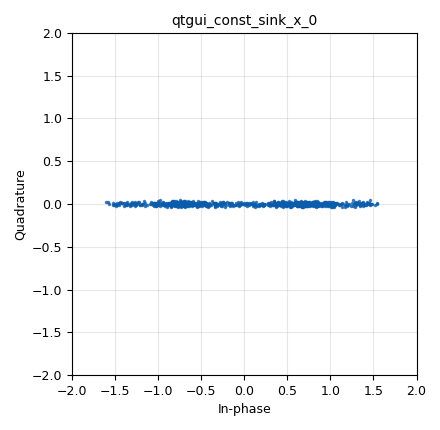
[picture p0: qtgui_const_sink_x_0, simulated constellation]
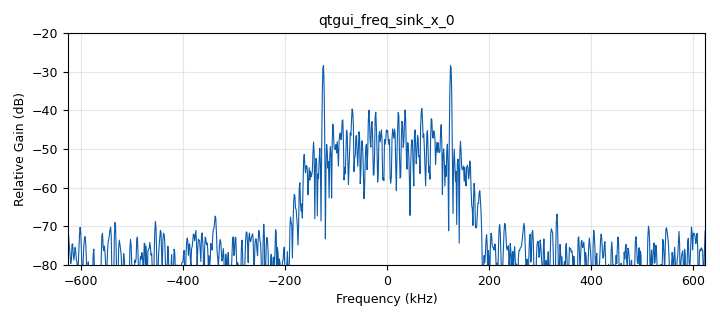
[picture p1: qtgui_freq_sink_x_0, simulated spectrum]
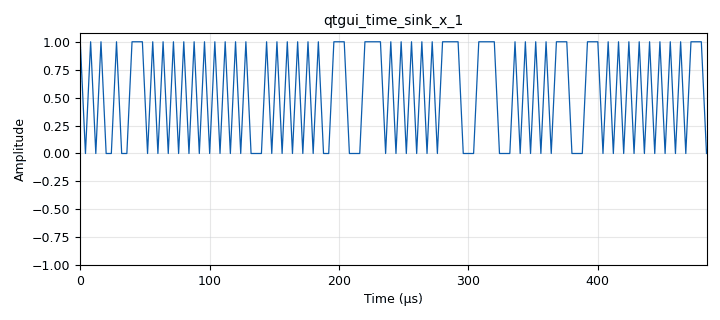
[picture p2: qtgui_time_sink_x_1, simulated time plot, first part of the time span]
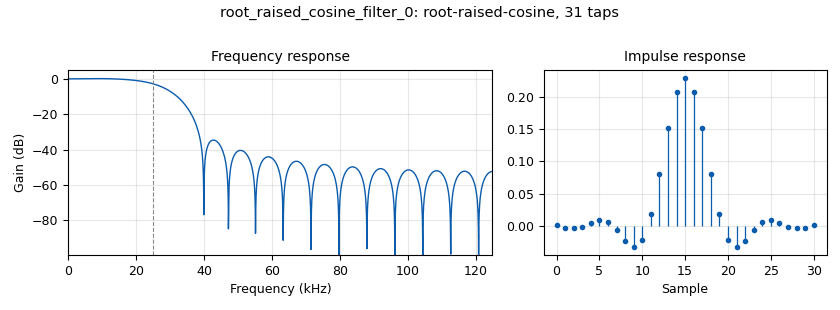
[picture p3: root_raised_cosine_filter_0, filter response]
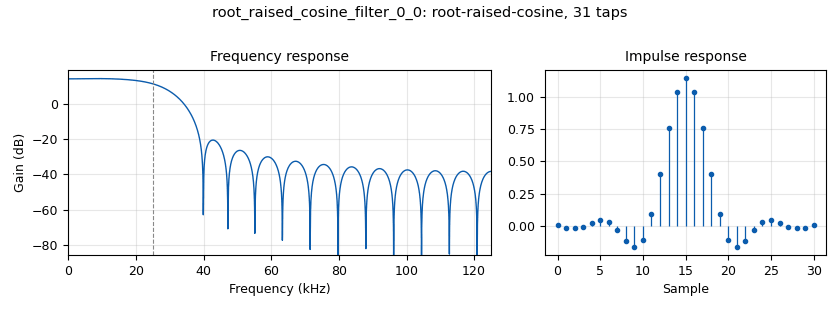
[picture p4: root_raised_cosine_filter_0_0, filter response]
<?xml version='1.0' encoding='utf-8'?>
<?grc format='1' created='3.7.12'?>
<flow_graph>
<block>
<key>options</key>
<param><key>id</key><value>T2B_Gen</value></param>
<param><key>generate_options</key><value>qt_gui</value></param>
</block>
<block>
<key>variable</key>
<param><key>id</key><value>c1</value></param>
<param><key>value</key><value>(1,-1)</value></param>
</block>
<block>
<key>variable</key>
<param><key>id</key><value>c2</value></param>
<param><key>value</key><value>(1,1,1,-1,-1,1,-1)</value></param>
</block>
<block>
<key>variable</key>
<param><key>id</key><value>c3</value></param>
<param><key>value</key><value>(1,1,1,-1,-1,-1,1,-1,1,1,-1)</value></param>
</block>
<block>
<key>variable</key>
<param><key>id</key><value>c4</value></param>
<param><key>value</key><value>(1,1,1,1,-1,-1,-1,1,-1,-1,-1,-1,1,1,-1,1,1,-1,-1)</value></param>
</block>
<block>
<key>variable</key>
<param><key>id</key><value>c5</value></param>
<param><key>value</key><value>(1,1,1,1,-1,1,-1,1,-1,-1,-1,-1,1,1,-1,1,1,-1,-1)</value></param>
</block>
<block>
<key>variable</key>
<param><key>id</key><value>c6</value></param>
<param><key>value</key><value>(1,1,1,1,1,-1,1,-1,1,1,-1,-1,1,1,-1,-1,1,-1,1,-1,-1,-1,-1)</value></param>
</block>
<block>
<key>variable_qtgui_range</key>
<param><key>id</key><value>noise_amp</value></param>
<param><key>value</key><value>0.01</value></param>
<param><key>orient</key><value>Qt.Horizontal</value></param>
<param><key>start</key><value>0</value></param>
<param><key>step</key><value>0.001</value></param>
<param><key>stop</key><value>100</value></param>
</block>
<block>
<key>variable</key>
<param><key>id</key><value>samp_rate</value></param>
<param><key>value</key><value>250e3</value></param>
</block>
<block>
<key>analog_const_source_x</key>
<param><key>id</key><value>analog_const_source_x_0</value></param>
<param><key>const</key><value>0</value></param>
<param><key>type</key><value>float</value></param>
</block>
<block>
<key>analog_fastnoise_source_x</key>
<param><key>id</key><value>analog_fastnoise_source_x_0</value></param>
<param><key>amp</key><value>noise_amp</value></param>
<param><key>noise_type</key><value>analog.GR_GAUSSIAN</value></param>
<param><key>type</key><value>complex</value></param>
<param><key>seed</key><value>0</value></param>
<param><key>samples</key><value>8192</value></param>
</block>
<block>
<key>blocks_add_xx</key>
<param><key>id</key><value>blocks_add_xx_0</value></param>
<param><key>type</key><value>short</value></param>
<param><key>num_inputs</key><value>6</value></param>
</block>
<block>
<key>blocks_add_xx</key>
<param><key>id</key><value>blocks_add_xx_1</value></param>
<param><key>type</key><value>complex</value></param>
</block>
<block>
<key>blocks_char_to_float</key>
<param><key>id</key><value>blocks_char_to_float_0</value></param>
<param><key>scale</key><value>1</value></param>
</block>
<block>
<key>blocks_char_to_float</key>
<param><key>id</key><value>blocks_char_to_float_1</value></param>
<param><key>_enabled</key><value>0</value></param>
<param><key>scale</key><value>1</value></param>
</block>
<block>
<key>blocks_char_to_float</key>
<param><key>id</key><value>blocks_char_to_float_1_0</value></param>
<param><key>_enabled</key><value>0</value></param>
<param><key>scale</key><value>1</value></param>
</block>
<block>
<key>blocks_char_to_float</key>
<param><key>id</key><value>blocks_char_to_float_1_0_0</value></param>
<param><key>_enabled</key><value>0</value></param>
<param><key>scale</key><value>1</value></param>
</block>
<block>
<key>blocks_char_to_float</key>
<param><key>id</key><value>blocks_char_to_float_1_0_0_0</value></param>
<param><key>scale</key><value>1</value></param>
</block>
<block>
<key>blocks_char_to_float</key>
<param><key>id</key><value>blocks_char_to_float_1_0_0_0_0</value></param>
<param><key>_enabled</key><value>0</value></param>
<param><key>scale</key><value>1</value></param>
</block>
<block>
<key>blocks_char_to_float</key>
<param><key>id</key><value>blocks_char_to_float_1_0_0_0_0_0</value></param>
<param><key>_enabled</key><value>0</value></param>
<param><key>scale</key><value>1</value></param>
</block>
<block>
<key>blocks_complex_to_real</key>
<param><key>id</key><value>blocks_complex_to_real_0</value></param>
<param><key>_enabled</key><value>0</value></param>
</block>
<block>
<key>blocks_complex_to_real</key>
<param><key>id</key><value>blocks_complex_to_real_0_0</value></param>
<param><key>_enabled</key><value>0</value></param>
</block>
<block>
<key>blocks_complex_to_real</key>
<param><key>id</key><value>blocks_complex_to_real_0_0_0</value></param>
<param><key>_enabled</key><value>0</value></param>
</block>
<block>
<key>blocks_complex_to_real</key>
<param><key>id</key><value>blocks_complex_to_real_0_0_0_0</value></param>
<param><key>_enabled</key><value>0</value></param>
</block>
<block>
<key>blocks_complex_to_real</key>
<param><key>id</key><value>blocks_complex_to_real_0_0_1</value></param>
<param><key>_enabled</key><value>0</value></param>
</block>
<block>
<key>blocks_complex_to_real</key>
<param><key>id</key><value>blocks_complex_to_real_0_1</value></param>
</block>
<block>
<key>blocks_delay</key>
<param><key>id</key><value>blocks_delay_0</value></param>
<param><key>delay</key><value>1</value></param>
<param><key>type</key><value>complex</value></param>
</block>
<block>
<key>blocks_float_to_complex</key>
<param><key>id</key><value>blocks_float_to_complex_0</value></param>
</block>
<block>
<key>blocks_multiply_const_vxx</key>
<param><key>id</key><value>blocks_multiply_const_vxx_0</value></param>
<param><key>const</key><value>2</value></param>
<param><key>type</key><value>short</value></param>
</block>
<block>
<key>blocks_multiply_const_vxx</key>
<param><key>id</key><value>blocks_multiply_const_vxx_0_0</value></param>
<param><key>const</key><value>1</value></param>
<param><key>type</key><value>short</value></param>
</block>
<block>
<key>blocks_multiply_const_vxx</key>
<param><key>id</key><value>blocks_multiply_const_vxx_0_1</value></param>
<param><key>const</key><value>-1</value></param>
<param><key>type</key><value>short</value></param>
</block>
<block>
<key>blocks_multiply_const_vxx</key>
<param><key>id</key><value>blocks_multiply_const_vxx_0_1_0</value></param>
<param><key>const</key><value>-1</value></param>
<param><key>type</key><value>short</value></param>
</block>
<block>
<key>blocks_multiply_const_vxx</key>
<param><key>id</key><value>blocks_multiply_const_vxx_0_1_0_0</value></param>
<param><key>const</key><value>1</value></param>
<param><key>type</key><value>short</value></param>
</block>
<block>
<key>blocks_multiply_const_vxx</key>
<param><key>id</key><value>blocks_multiply_const_vxx_0_1_0_0_0</value></param>
<param><key>const</key><value>-1</value></param>
<param><key>type</key><value>short</value></param>
</block>
<block>
<key>blocks_null_sink</key>
<param><key>id</key><value>blocks_null_sink_0</value></param>
<param><key>bus_conns</key><value>[[0,],]</value></param>
<param><key>_enabled</key><value>0</value></param>
<param><key>type</key><value>complex</value></param>
</block>
<block>
<key>blocks_null_sink</key>
<param><key>id</key><value>blocks_null_sink_0_0</value></param>
<param><key>bus_conns</key><value>[[0,],]</value></param>
<param><key>_enabled</key><value>0</value></param>
<param><key>type</key><value>complex</value></param>
</block>
<block>
<key>blocks_null_sink</key>
<param><key>id</key><value>blocks_null_sink_0_0_0</value></param>
<param><key>bus_conns</key><value>[[0,],]</value></param>
<param><key>_enabled</key><value>0</value></param>
<param><key>type</key><value>complex</value></param>
</block>
<block>
<key>blocks_null_sink</key>
<param><key>id</key><value>blocks_null_sink_0_0_0_0</value></param>
<param><key>bus_conns</key><value>[[0,],]</value></param>
<param><key>_enabled</key><value>0</value></param>
<param><key>type</key><value>complex</value></param>
</block>
<block>
<key>blocks_null_sink</key>
<param><key>id</key><value>blocks_null_sink_0_0_1</value></param>
<param><key>bus_conns</key><value>[[0,],]</value></param>
<param><key>_enabled</key><value>0</value></param>
<param><key>type</key><value>complex</value></param>
</block>
<block>
<key>blocks_null_sink</key>
<param><key>id</key><value>blocks_null_sink_0_1</value></param>
<param><key>bus_conns</key><value>[[0,],]</value></param>
<param><key>type</key><value>complex</value></param>
</block>
<block>
<key>blocks_short_to_float</key>
<param><key>id</key><value>blocks_short_to_float_0</value></param>
<param><key>scale</key><value>1</value></param>
</block>
<block>
<key>blocks_throttle</key>
<param><key>id</key><value>blocks_throttle_0</value></param>
<param><key>samples_per_second</key><value>1e6</value></param>
<param><key>type</key><value>short</value></param>
</block>
<block>
<key>blocks_vector_source_x</key>
<param><key>id</key><value>blocks_vector_source_x_0</value></param>
<param><key>type</key><value>short</value></param>
<param><key>repeat</key><value>True</value></param>
<param><key>vector</key><value>c1</value></param>
</block>
<block>
<key>blocks_vector_source_x</key>
<param><key>id</key><value>blocks_vector_source_x_0_0</value></param>
<param><key>type</key><value>short</value></param>
<param><key>repeat</key><value>True</value></param>
<param><key>vector</key><value>c2</value></param>
</block>
<block>
<key>blocks_vector_source_x</key>
<param><key>id</key><value>blocks_vector_source_x_0_0_0</value></param>
<param><key>type</key><value>short</value></param>
<param><key>repeat</key><value>True</value></param>
<param><key>vector</key><value>c3</value></param>
</block>
<block>
<key>blocks_vector_source_x</key>
<param><key>id</key><value>blocks_vector_source_x_0_0_0_0</value></param>
<param><key>type</key><value>short</value></param>
<param><key>repeat</key><value>True</value></param>
<param><key>vector</key><value>c4</value></param>
</block>
<block>
<key>blocks_vector_source_x</key>
<param><key>id</key><value>blocks_vector_source_x_0_0_0_0_0</value></param>
<param><key>type</key><value>short</value></param>
<param><key>repeat</key><value>True</value></param>
<param><key>vector</key><value>c5</value></param>
</block>
<block>
<key>blocks_vector_source_x</key>
<param><key>id</key><value>blocks_vector_source_x_0_0_0_0_0_0</value></param>
<param><key>type</key><value>short</value></param>
<param><key>repeat</key><value>True</value></param>
<param><key>vector</key><value>c6</value></param>
</block>
<block>
<key>digital_binary_slicer_fb</key>
<param><key>id</key><value>digital_binary_slicer_fb_0</value></param>
</block>
<block>
<key>digital_binary_slicer_fb</key>
<param><key>id</key><value>digital_binary_slicer_fb_1</value></param>
<param><key>_enabled</key><value>0</value></param>
</block>
<block>
<key>digital_binary_slicer_fb</key>
<param><key>id</key><value>digital_binary_slicer_fb_1_0</value></param>
<param><key>_enabled</key><value>0</value></param>
</block>
<block>
<key>digital_binary_slicer_fb</key>
<param><key>id</key><value>digital_binary_slicer_fb_1_0_0</value></param>
<param><key>_enabled</key><value>0</value></param>
</block>
<block>
<key>digital_binary_slicer_fb</key>
<param><key>id</key><value>digital_binary_slicer_fb_1_0_0_0</value></param>
</block>
<block>
<key>digital_binary_slicer_fb</key>
<param><key>id</key><value>digital_binary_slicer_fb_1_0_0_0_0</value></param>
<param><key>_enabled</key><value>0</value></param>
</block>
<block>
<key>digital_binary_slicer_fb</key>
<param><key>id</key><value>digital_binary_slicer_fb_1_0_0_0_0_0</value></param>
<param><key>_enabled</key><value>0</value></param>
</block>
<block>
<key>digital_clock_recovery_mm_xx</key>
<param><key>id</key><value>digital_clock_recovery_mm_xx_0</value></param>
<param><key>gain_mu</key><value>0.175</value></param>
<param><key>gain_omega</key><value>0.25*0.175*0.175</value></param>
<param><key>mu</key><value>0.5</value></param>
<param><key>omega_relative_limit</key><value>0.005</value></param>
<param><key>omega</key><value>5*(1+0.0)</value></param>
<param><key>type</key><value>complex</value></param>
</block>
<block>
<key>digital_corr_est_cc</key>
<param><key>id</key><value>digital_corr_est_cc_0</value></param>
<param><key>_enabled</key><value>0</value></param>
<param><key>sps</key><value>5</value></param>
<param><key>symbols</key><value>c6</value></param>
<param><key>mark_delay</key><value>0</value></param>
<param><key>threshold_method</key><value>digital.corr_est_cc.THRESHOLD_ABSOLUTE</value></param>
<param><key>threshold</key><value>0.9</value></param>
</block>
<block>
<key>digital_corr_est_cc</key>
<param><key>id</key><value>digital_corr_est_cc_0_0</value></param>
<param><key>_enabled</key><value>0</value></param>
<param><key>sps</key><value>5</value></param>
<param><key>symbols</key><value>c5</value></param>
<param><key>mark_delay</key><value>0</value></param>
<param><key>threshold_method</key><value>digital.corr_est_cc.THRESHOLD_ABSOLUTE</value></param>
<param><key>threshold</key><value>1</value></param>
</block>
<block>
<key>digital_corr_est_cc</key>
<param><key>id</key><value>digital_corr_est_cc_0_0_0</value></param>
<param><key>_enabled</key><value>0</value></param>
<param><key>sps</key><value>5</value></param>
<param><key>symbols</key><value>c4</value></param>
<param><key>mark_delay</key><value>0</value></param>
<param><key>threshold_method</key><value>digital.corr_est_cc.THRESHOLD_ABSOLUTE</value></param>
<param><key>threshold</key><value>0.9</value></param>
</block>
<block>
<key>digital_corr_est_cc</key>
<param><key>id</key><value>digital_corr_est_cc_0_0_0_0</value></param>
<param><key>_enabled</key><value>0</value></param>
<param><key>sps</key><value>5</value></param>
<param><key>symbols</key><value>c1</value></param>
<param><key>mark_delay</key><value>0</value></param>
<param><key>threshold_method</key><value>digital.corr_est_cc.THRESHOLD_ABSOLUTE</value></param>
<param><key>threshold</key><value>0.9</value></param>
</block>
<block>
<key>digital_corr_est_cc</key>
<param><key>id</key><value>digital_corr_est_cc_0_0_1</value></param>
<param><key>_enabled</key><value>0</value></param>
<param><key>sps</key><value>5</value></param>
<param><key>symbols</key><value>c2</value></param>
<param><key>mark_delay</key><value>0</value></param>
<param><key>threshold_method</key><value>digital.corr_est_cc.THRESHOLD_ABSOLUTE</value></param>
<param><key>threshold</key><value>0.9</value></param>
</block>
<block>
<key>digital_corr_est_cc</key>
<param><key>id</key><value>digital_corr_est_cc_0_1</value></param>
<param><key>sps</key><value>5</value></param>
<param><key>symbols</key><value>c3</value></param>
<param><key>mark_delay</key><value>0</value></param>
<param><key>threshold_method</key><value>digital.corr_est_cc.THRESHOLD_ABSOLUTE</value></param>
<param><key>threshold</key><value>0.9</value></param>
</block>
<block>
<key>digital_map_bb</key>
<param><key>id</key><value>digital_map_bb_0</value></param>
<param><key>map</key><value>[-1,1]</value></param>
</block>
<block>
<key>qtgui_const_sink_x</key>
<param><key>id</key><value>qtgui_const_sink_x_0</value></param>
<param><key>marker1</key><value>9</value></param>
<param><key>width1</key><value>0</value></param>
<param><key>size</key><value>1024</value></param>
<param><key>type</key><value>complex</value></param>
</block>
<block>
<key>qtgui_freq_sink_x</key>
<param><key>id</key><value>qtgui_freq_sink_x_0</value></param>
<param><key>bw</key><value>samp_rate*5</value></param>
<param><key>fc</key><value>0</value></param>
<param><key>fftsize</key><value>1024</value></param>
<param><key>showports</key><value>True</value></param>
<param><key>type</key><value>complex</value></param>
<param><key>wintype</key><value>firdes.WIN_BLACKMAN_hARRIS</value></param>
<param><key>ymax</key><value>-20</value></param>
<param><key>ymin</key><value>-80</value></param>
</block>
<block>
<key>qtgui_time_sink_x</key>
<param><key>id</key><value>qtgui_time_sink_x_0</value></param>
<param><key>autoscale</key><value>True</value></param>
<param><key>_enabled</key><value>0</value></param>
<param><key>color1</key><value>"blue"</value></param>
<param><key>label1</key><value></value></param>
<param><key>size</key><value>1024</value></param>
<param><key>srate</key><value>samp_rate</value></param>
<param><key>type</key><value>float</value></param>
<param><key>ymax</key><value>2</value></param>
<param><key>ymin</key><value>-2</value></param>
</block>
<block>
<key>qtgui_time_sink_x</key>
<param><key>id</key><value>qtgui_time_sink_x_1</value></param>
<param><key>color1</key><value>"blue"</value></param>
<param><key>label1</key><value></value></param>
<param><key>size</key><value>1024</value></param>
<param><key>srate</key><value>samp_rate</value></param>
<param><key>type</key><value>float</value></param>
</block>
<block>
<key>root_raised_cosine_filter</key>
<param><key>id</key><value>root_raised_cosine_filter_0</value></param>
<param><key>alpha</key><value>0.5</value></param>
<param><key>type</key><value>interp_fir_filter_ccf</value></param>
<param><key>gain</key><value>1</value></param>
<param><key>interp</key><value>5</value></param>
<param><key>ntaps</key><value>30</value></param>
<param><key>samp_rate</key><value>samp_rate</value></param>
<param><key>sym_rate</key><value>samp_rate/5</value></param>
</block>
<block>
<key>root_raised_cosine_filter</key>
<param><key>id</key><value>root_raised_cosine_filter_0_0</value></param>
<param><key>alpha</key><value>0.5</value></param>
<param><key>decim</key><value>5</value></param>
<param><key>type</key><value>fir_filter_ccf</value></param>
<param><key>gain</key><value>5</value></param>
<param><key>ntaps</key><value>30</value></param>
<param><key>samp_rate</key><value>samp_rate</value></param>
<param><key>sym_rate</key><value>samp_rate/5</value></param>
</block>
<block>
<key>virtual_sink</key>
<param><key>id</key><value>virtual_sink_0</value></param>
<param><key>stream_id</key><value>t2b</value></param>
</block>
<block>
<key>virtual_source</key>
<param><key>id</key><value>virtual_source_0</value></param>
<param><key>stream_id</key><value>t2b</value></param>
</block>
<connection><source_block_id>analog_const_source_x_0</source_block_id><sink_block_id>blocks_float_to_complex_0</sink_block_id><source_key>0</source_key><sink_key>1</sink_key></connection>
<connection><source_block_id>analog_fastnoise_source_x_0</source_block_id><sink_block_id>blocks_add_xx_1</sink_block_id><source_key>0</source_key><sink_key>0</sink_key></connection>
<connection><source_block_id>blocks_add_xx_0</source_block_id><sink_block_id>blocks_throttle_0</sink_block_id><source_key>0</source_key><sink_key>0</sink_key></connection>
<connection><source_block_id>blocks_add_xx_1</source_block_id><sink_block_id>qtgui_freq_sink_x_0</sink_block_id><source_key>0</source_key><sink_key>0</sink_key></connection>
<connection><source_block_id>blocks_add_xx_1</source_block_id><sink_block_id>root_raised_cosine_filter_0_0</sink_block_id><source_key>0</source_key><sink_key>0</sink_key></connection>
<connection><source_block_id>blocks_char_to_float_0</source_block_id><sink_block_id>virtual_sink_0</sink_block_id><source_key>0</source_key><sink_key>0</sink_key></connection>
<connection><source_block_id>blocks_char_to_float_1_0_0_0</source_block_id><sink_block_id>qtgui_time_sink_x_1</sink_block_id><source_key>0</source_key><sink_key>0</sink_key></connection>
<connection><source_block_id>blocks_char_to_float_1_0_0_0_0_0</source_block_id><sink_block_id>qtgui_time_sink_x_1</sink_block_id><source_key>0</source_key><sink_key>0</sink_key></connection>
<connection><source_block_id>blocks_complex_to_real_0</source_block_id><sink_block_id>digital_binary_slicer_fb_1</sink_block_id><source_key>0</source_key><sink_key>0</sink_key></connection>
<connection><source_block_id>blocks_complex_to_real_0_0</source_block_id><sink_block_id>digital_binary_slicer_fb_1_0</sink_block_id><source_key>0</source_key><sink_key>0</sink_key></connection>
<connection><source_block_id>blocks_complex_to_real_0_0_0</source_block_id><sink_block_id>digital_binary_slicer_fb_1_0_0</sink_block_id><source_key>0</source_key><sink_key>0</sink_key></connection>
<connection><source_block_id>blocks_complex_to_real_0_0_0_0</source_block_id><sink_block_id>digital_binary_slicer_fb_1_0_0_0_0_0</sink_block_id><source_key>0</source_key><sink_key>0</sink_key></connection>
<connection><source_block_id>blocks_complex_to_real_0_0_1</source_block_id><sink_block_id>digital_binary_slicer_fb_1_0_0_0_0</sink_block_id><source_key>0</source_key><sink_key>0</sink_key></connection>
<connection><source_block_id>blocks_complex_to_real_0_1</source_block_id><sink_block_id>digital_binary_slicer_fb_1_0_0_0</sink_block_id><source_key>0</source_key><sink_key>0</sink_key></connection>
<connection><source_block_id>blocks_delay_0</source_block_id><sink_block_id>blocks_add_xx_1</sink_block_id><source_key>0</source_key><sink_key>1</sink_key></connection>
<connection><source_block_id>blocks_float_to_complex_0</source_block_id><sink_block_id>root_raised_cosine_filter_0</sink_block_id><source_key>0</source_key><sink_key>0</sink_key></connection>
<connection><source_block_id>blocks_multiply_const_vxx_0</source_block_id><sink_block_id>blocks_add_xx_0</sink_block_id><source_key>0</source_key><sink_key>0</sink_key></connection>
<connection><source_block_id>blocks_multiply_const_vxx_0_0</source_block_id><sink_block_id>blocks_add_xx_0</sink_block_id><source_key>0</source_key><sink_key>1</sink_key></connection>
<connection><source_block_id>blocks_multiply_const_vxx_0_1</source_block_id><sink_block_id>blocks_add_xx_0</sink_block_id><source_key>0</source_key><sink_key>2</sink_key></connection>
<connection><source_block_id>blocks_multiply_const_vxx_0_1_0</source_block_id><sink_block_id>blocks_add_xx_0</sink_block_id><source_key>0</source_key><sink_key>3</sink_key></connection>
<connection><source_block_id>blocks_multiply_const_vxx_0_1_0_0</source_block_id><sink_block_id>blocks_add_xx_0</sink_block_id><source_key>0</source_key><sink_key>4</sink_key></connection>
<connection><source_block_id>blocks_multiply_const_vxx_0_1_0_0_0</source_block_id><sink_block_id>blocks_add_xx_0</sink_block_id><source_key>0</source_key><sink_key>5</sink_key></connection>
<connection><source_block_id>blocks_short_to_float_0</source_block_id><sink_block_id>digital_binary_slicer_fb_0</sink_block_id><source_key>0</source_key><sink_key>0</sink_key></connection>
<connection><source_block_id>blocks_throttle_0</source_block_id><sink_block_id>blocks_short_to_float_0</sink_block_id><source_key>0</source_key><sink_key>0</sink_key></connection>
<connection><source_block_id>blocks_vector_source_x_0</source_block_id><sink_block_id>blocks_multiply_const_vxx_0</sink_block_id><source_key>0</source_key><sink_key>0</sink_key></connection>
<connection><source_block_id>blocks_vector_source_x_0_0</source_block_id><sink_block_id>blocks_multiply_const_vxx_0_0</sink_block_id><source_key>0</source_key><sink_key>0</sink_key></connection>
<connection><source_block_id>blocks_vector_source_x_0_0_0</source_block_id><sink_block_id>blocks_multiply_const_vxx_0_1</sink_block_id><source_key>0</source_key><sink_key>0</sink_key></connection>
<connection><source_block_id>blocks_vector_source_x_0_0_0_0</source_block_id><sink_block_id>blocks_multiply_const_vxx_0_1_0</sink_block_id><source_key>0</source_key><sink_key>0</sink_key></connection>
<connection><source_block_id>blocks_vector_source_x_0_0_0_0_0</source_block_id><sink_block_id>blocks_multiply_const_vxx_0_1_0_0</sink_block_id><source_key>0</source_key><sink_key>0</sink_key></connection>
<connection><source_block_id>blocks_vector_source_x_0_0_0_0_0_0</source_block_id><sink_block_id>blocks_multiply_const_vxx_0_1_0_0_0</sink_block_id><source_key>0</source_key><sink_key>0</sink_key></connection>
<connection><source_block_id>digital_binary_slicer_fb_0</source_block_id><sink_block_id>digital_map_bb_0</sink_block_id><source_key>0</source_key><sink_key>0</sink_key></connection>
<connection><source_block_id>digital_binary_slicer_fb_1</source_block_id><sink_block_id>blocks_char_to_float_1</sink_block_id><source_key>0</source_key><sink_key>0</sink_key></connection>
<connection><source_block_id>digital_binary_slicer_fb_1_0</source_block_id><sink_block_id>blocks_char_to_float_1_0</sink_block_id><source_key>0</source_key><sink_key>0</sink_key></connection>
<connection><source_block_id>digital_binary_slicer_fb_1_0_0</source_block_id><sink_block_id>blocks_char_to_float_1_0_0</sink_block_id><source_key>0</source_key><sink_key>0</sink_key></connection>
<connection><source_block_id>digital_binary_slicer_fb_1_0_0_0</source_block_id><sink_block_id>blocks_char_to_float_1_0_0_0</sink_block_id><source_key>0</source_key><sink_key>0</sink_key></connection>
<connection><source_block_id>digital_binary_slicer_fb_1_0_0_0_0</source_block_id><sink_block_id>blocks_char_to_float_1_0_0_0_0</sink_block_id><source_key>0</source_key><sink_key>0</sink_key></connection>
<connection><source_block_id>digital_binary_slicer_fb_1_0_0_0_0_0</source_block_id><sink_block_id>blocks_char_to_float_1_0_0_0_0_0</sink_block_id><source_key>0</source_key><sink_key>0</sink_key></connection>
<connection><source_block_id>digital_clock_recovery_mm_xx_0</source_block_id><sink_block_id>qtgui_const_sink_x_0</sink_block_id><source_key>0</source_key><sink_key>0</sink_key></connection>
<connection><source_block_id>digital_corr_est_cc_0</source_block_id><sink_block_id>blocks_complex_to_real_0</sink_block_id><source_key>1</source_key><sink_key>0</sink_key></connection>
<connection><source_block_id>digital_corr_est_cc_0</source_block_id><sink_block_id>blocks_null_sink_0</sink_block_id><source_key>0</source_key><sink_key>0</sink_key></connection>
<connection><source_block_id>digital_corr_est_cc_0_0</source_block_id><sink_block_id>blocks_complex_to_real_0_0</sink_block_id><source_key>1</source_key><sink_key>0</sink_key></connection>
<connection><source_block_id>digital_corr_est_cc_0_0</source_block_id><sink_block_id>blocks_null_sink_0_0</sink_block_id><source_key>0</source_key><sink_key>0</sink_key></connection>
<connection><source_block_id>digital_corr_est_cc_0_0_0</source_block_id><sink_block_id>blocks_complex_to_real_0_0_0</sink_block_id><source_key>1</source_key><sink_key>0</sink_key></connection>
<connection><source_block_id>digital_corr_est_cc_0_0_0</source_block_id><sink_block_id>blocks_null_sink_0_0_0</sink_block_id><source_key>0</source_key><sink_key>0</sink_key></connection>
<connection><source_block_id>digital_corr_est_cc_0_0_0_0</source_block_id><sink_block_id>blocks_complex_to_real_0_0_0_0</sink_block_id><source_key>1</source_key><sink_key>0</sink_key></connection>
<connection><source_block_id>digital_corr_est_cc_0_0_0_0</source_block_id><sink_block_id>blocks_null_sink_0_0_0_0</sink_block_id><source_key>0</source_key><sink_key>0</sink_key></connection>
<connection><source_block_id>digital_corr_est_cc_0_0_1</source_block_id><sink_block_id>blocks_complex_to_real_0_0_1</sink_block_id><source_key>1</source_key><sink_key>0</sink_key></connection>
<connection><source_block_id>digital_corr_est_cc_0_0_1</source_block_id><sink_block_id>blocks_null_sink_0_0_1</sink_block_id><source_key>0</source_key><sink_key>0</sink_key></connection>
<connection><source_block_id>digital_corr_est_cc_0_1</source_block_id><sink_block_id>blocks_complex_to_real_0_1</sink_block_id><source_key>1</source_key><sink_key>0</sink_key></connection>
<connection><source_block_id>digital_corr_est_cc_0_1</source_block_id><sink_block_id>blocks_null_sink_0_1</sink_block_id><source_key>0</source_key><sink_key>0</sink_key></connection>
<connection><source_block_id>digital_map_bb_0</source_block_id><sink_block_id>blocks_char_to_float_0</sink_block_id><source_key>0</source_key><sink_key>0</sink_key></connection>
<connection><source_block_id>root_raised_cosine_filter_0</source_block_id><sink_block_id>blocks_delay_0</sink_block_id><source_key>0</source_key><sink_key>0</sink_key></connection>
<connection><source_block_id>root_raised_cosine_filter_0_0</source_block_id><sink_block_id>digital_clock_recovery_mm_xx_0</sink_block_id><source_key>0</source_key><sink_key>0</sink_key></connection>
<connection><source_block_id>root_raised_cosine_filter_0_0</source_block_id><sink_block_id>digital_corr_est_cc_0</sink_block_id><source_key>0</source_key><sink_key>0</sink_key></connection>
<connection><source_block_id>root_raised_cosine_filter_0_0</source_block_id><sink_block_id>digital_corr_est_cc_0_0</sink_block_id><source_key>0</source_key><sink_key>0</sink_key></connection>
<connection><source_block_id>root_raised_cosine_filter_0_0</source_block_id><sink_block_id>digital_corr_est_cc_0_0_0</sink_block_id><source_key>0</source_key><sink_key>0</sink_key></connection>
<connection><source_block_id>root_raised_cosine_filter_0_0</source_block_id><sink_block_id>digital_corr_est_cc_0_0_0_0</sink_block_id><source_key>0</source_key><sink_key>0</sink_key></connection>
<connection><source_block_id>root_raised_cosine_filter_0_0</source_block_id><sink_block_id>digital_corr_est_cc_0_0_1</sink_block_id><source_key>0</source_key><sink_key>0</sink_key></connection>
<connection><source_block_id>root_raised_cosine_filter_0_0</source_block_id><sink_block_id>digital_corr_est_cc_0_1</sink_block_id><source_key>0</source_key><sink_key>0</sink_key></connection>
<connection><source_block_id>virtual_source_0</source_block_id><sink_block_id>blocks_float_to_complex_0</sink_block_id><source_key>0</source_key><sink_key>0</sink_key></connection>
<connection><source_block_id>virtual_source_0</source_block_id><sink_block_id>qtgui_time_sink_x_0</sink_block_id><source_key>0</source_key><sink_key>0</sink_key></connection>
</flow_graph>
